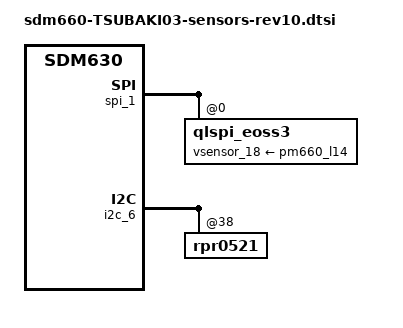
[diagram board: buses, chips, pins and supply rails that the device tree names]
/* Copyright (c) 2017, The Linux Foundation. All rights reserved.
 *
 * This program is free software; you can redistribute it and/or modify
 * it under the terms of the GNU General Public License version 2 and
 * only version 2 as published by the Free Software Foundation.
 *
 * This program is distributed in the hope that it will be useful,
 * but WITHOUT ANY WARRANTY; without even the implied warranty of
 * MERCHANTABILITY or FITNESS FOR A PARTICULAR PURPOSE.  See the
 * GNU General Public License for more details.
 */
/*
 * This software is contributed or developed by KYOCERA Corporation.
 * (C) 2019 KYOCERA Corporation
 */

#include "sdm630-common-sensors.dtsi"
&soc {
	/delete-node/ sensor_power;
};

&spi_1 {
	status = "ok";
	/delete-node/ sensor_micon;
	qlspi_eoss3@0 {
		/delete-property/ pinctrl-names;
		pinctrl-names = "sensor_micon_default", "sensor_micon_active", "sensor_micon_sleep",
						"sensor_micon_spi_cs_active", "sensor_micon_spi_cs_suspend", "sensor_micon_spi_cs_reset",
						"sensor_micon_rst_active", "sensor_micon_rst_suspend",
						"sensor_micon_vmicon_11_active","sensor_micon_vmicon_11_suspend",
						"sensor_micon_vmicon_18_active","sensor_micon_vmicon_18_suspend";
		pinctrl-0 = <&micon_int_n_default &micon_int_out_default &micon_rst_n_default>;
		pinctrl-1 = <&micon_int_n_active &micon_int_out_active &micon_rst_n_active>;
		pinctrl-2 = <&micon_int_n_suspend &micon_int_out_suspend &micon_rst_n_suspend>;
		pinctrl-3 = <&sensor_micon_spi_cs_active>;
		pinctrl-4 = <&sensor_micon_spi_cs_suspend>;
		pinctrl-5 = <&sensor_micon_spi_cs_reset>;
		pinctrl-6 = <&sensor_micon_rst_active>;
		pinctrl-7 = <&sensor_micon_rst_suspend>;
		pinctrl-8 = <&sensor_micon_vmicon_11_active>;
		pinctrl-9 = <&sensor_micon_vmicon_11_suspend>;
		/delete-property/ pinctrl-10;
		pinctrl-10 = <&sensor_micon_vmicon_18_active>;
		/delete-property/ pinctrl-11;
		pinctrl-11 = <&sensor_micon_vmicon_18_suspend>;
		/delete-property/ vmicon_18-supply;
		vsensor_18-supply = <&pm660_l14>;
		vmicon_18 {
			ctrl = <1>; /* 1:pinctrl, 2:pm ldo, 3:pm gpio*/
			gpio = <&tlmm 77 0>;
		};
		vsensor_18 {
			ctrl = <2>; /* 1:pinctrl, 2:pm ldo, 3:pm gpio*/
			voltage-min = <1800000>;
			voltage-max = <1800000>;
			load = <50000>;
		};
	};
};

&i2c_6 {
	status = "ok";
	rpr0521@38 { /* Ambient light and proximity sensor */
		status = "ok";
	};
};

&tlmm {
	/delete-node/ sensor_micon_vsensor_18;
	sensor_micon_vmicon_18 {
		sensor_micon_vmicon_18_active: sensor_micon_vmicon_18_active {
			mux {
				pins = "gpio77";
				function = "gpio";
			};
			config {
				pins = "gpio77";
				device-strength = <2>;
				output-high;
				bias-disable;
			};
		};
		sensor_micon_vmicon_18_suspend: sensor_micon_vmicon_18_suspend {
			mux {
				pins = "gpio77";
				function = "gpio";
			};
			config {
				pins = "gpio77";
				device-strength = <2>;
				output-low;
				bias-disable;
			};
		};
	};
};
